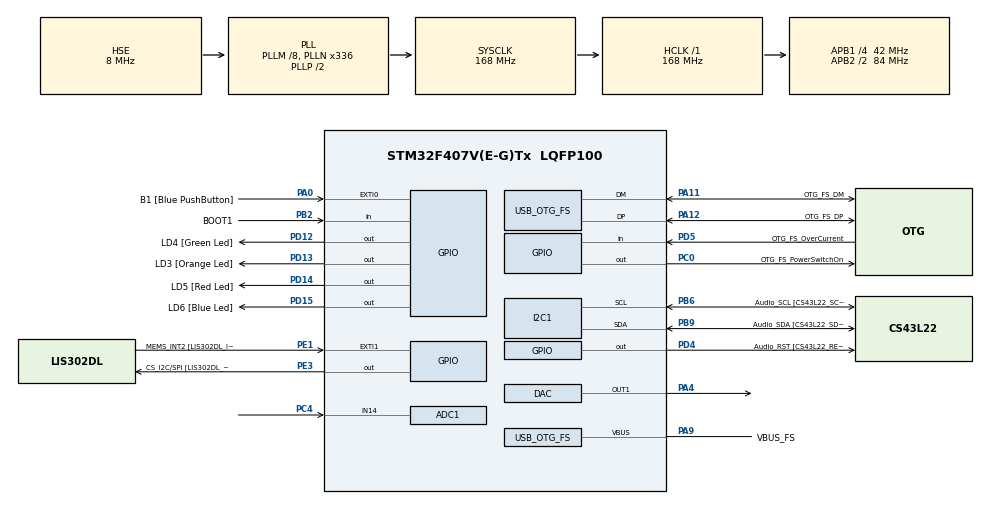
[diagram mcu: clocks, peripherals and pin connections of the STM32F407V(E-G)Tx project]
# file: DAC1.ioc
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ADC1.Channel-1\#ChannelRegularConversion=ADC_CHANNEL_14
ADC1.ContinuousConvMode=ENABLE
ADC1.DMAContinuousRequests=ENABLE
ADC1.NbrOfConversion=1
ADC1.NbrOfConversionFlag=1
ADC1.Rank-1\#ChannelRegularConversion=1
ADC1.SamplingTime-1\#ChannelRegularConversion=ADC_SAMPLETIME_3CYCLES
ADC1.master=1
DAC.DAC_Trigger=DAC_TRIGGER_T2_TRGO
Dma.ADC1.1.Direction=DMA_PERIPH_TO_MEMORY
Dma.ADC1.1.FIFOMode=DMA_FIFOMODE_DISABLE
Dma.ADC1.1.Instance=DMA2_Stream0
Dma.ADC1.1.MemDataAlignment=DMA_MDATAALIGN_WORD
Dma.ADC1.1.MemInc=DMA_MINC_ENABLE
Dma.ADC1.1.Mode=DMA_NORMAL
Dma.ADC1.1.PeriphDataAlignment=DMA_PDATAALIGN_WORD
Dma.ADC1.1.PeriphInc=DMA_PINC_DISABLE
Dma.ADC1.1.Priority=DMA_PRIORITY_VERY_HIGH
Dma.DAC1.0.Direction=DMA_MEMORY_TO_PERIPH
Dma.DAC1.0.FIFOMode=DMA_FIFOMODE_DISABLE
Dma.DAC1.0.Instance=DMA1_Stream5
Dma.DAC1.0.MemDataAlignment=DMA_MDATAALIGN_WORD
Dma.DAC1.0.MemInc=DMA_MINC_ENABLE
Dma.DAC1.0.Mode=DMA_CIRCULAR
Dma.DAC1.0.PeriphDataAlignment=DMA_PDATAALIGN_WORD
Dma.DAC1.0.PeriphInc=DMA_PINC_DISABLE
Dma.DAC1.0.Priority=DMA_PRIORITY_LOW
Dma.Request0=DAC1
Dma.Request1=ADC1
Mcu.Family=STM32F4
Mcu.Name=STM32F407V(E-G)Tx
Mcu.Package=LQFP100
NVIC.DMA1_Stream5_IRQn=true\:0\:0\:false\:false\:true\:false\:true\:true
NVIC.DMA2_Stream0_IRQn=true\:0\:0\:false\:false\:true\:false\:true\:true
NVIC.OTG_FS_IRQn=true\:0\:0\:false\:false\:true\:true\:true\:true
NVIC.PriorityGroup=NVIC_PRIORITYGROUP_0
NVIC.TIM2_IRQn=true\:0\:0\:false\:false\:true\:true\:true\:true
PA0-WKUP.GPIO_Label=B1 [Blue PushButton]
PA0-WKUP.GPIO_ModeDefaultEXTI=GPIO_MODE_EVT_RISING
PA0-WKUP.GPIO_PuPd=GPIO_NOPULL
PA0-WKUP.Signal=GPXTI0
PA10.GPIO_Label=OTG_FS_ID
PA10.GPIO_Mode=GPIO_MODE_AF_PP
PA10.GPIO_PuPd=GPIO_NOPULL
PA10.GPIO_Speed=GPIO_SPEED_FREQ_LOW
PA10.Signal=USB_OTG_FS_ID
PA11.GPIO_Label=OTG_FS_DM
PA11.GPIO_Mode=GPIO_MODE_AF_PP
PA11.GPIO_PuPd=GPIO_NOPULL
PA11.GPIO_Speed=GPIO_SPEED_FREQ_LOW
PA11.Mode=Host_Only
PA11.Signal=USB_OTG_FS_DM
PA12.GPIO_Label=OTG_FS_DP
PA12.GPIO_Mode=GPIO_MODE_AF_PP
PA12.GPIO_PuPd=GPIO_NOPULL
PA12.GPIO_Speed=GPIO_SPEED_FREQ_LOW
PA12.Mode=Host_Only
PA12.Signal=USB_OTG_FS_DP
PA13.GPIO_Label=SWDIO
PA13.Mode=Serial_Wire
PA13.Signal=SYS_JTMS-SWDIO
PA14.GPIO_Label=SWCLK
PA14.Mode=Serial_Wire
PA14.Signal=SYS_JTCK-SWCLK
PA4.Signal=COMP_DAC1_group
PA6.GPIO_Label=SPI1_MISO [LIS302DL_SDO]
PA6.GPIO_Mode=GPIO_MODE_AF_PP
PA6.GPIO_PuPd=GPIO_NOPULL
PA6.GPIO_Speed=GPIO_SPEED_FREQ_LOW
PA6.Signal=SPI1_MISO
PA7.GPIO_Label=SPI1_MOSI [LIS302DL_SDA/SDI/SDO]
PA7.GPIO_Mode=GPIO_MODE_AF_PP
PA7.GPIO_PuPd=GPIO_NOPULL
PA7.GPIO_Speed=GPIO_SPEED_FREQ_LOW
PA7.Signal=SPI1_MOSI
PA9.GPIO_Label=VBUS_FS
PA9.GPIO_Mode=GPIO_MODE_INPUT
PA9.GPIO_PuPd=GPIO_NOPULL
PA9.Mode=Activate_VBUS
PA9.Signal=USB_OTG_FS_VBUS
PB10.GPIO_Label=CLK_IN [MP45DT02_CLK]
PB10.GPIO_Mode=GPIO_MODE_AF_PP
PB10.GPIO_PuPd=GPIO_NOPULL
PB10.GPIO_Speed=GPIO_SPEED_FREQ_LOW
PB10.Signal=I2S2_CK
PB2.GPIO_Label=BOOT1
PB2.GPIO_Mode=GPIO_MODE_INPUT
PB2.GPIO_PuPd=GPIO_NOPULL
PB2.Signal=GPIO_Input
PB3.GPIO_Label=SWO
PB3.Signal=SYS_JTDO-SWO
PB6.GPIO_Label=Audio_SCL [CS43L22_SCL]
PB6.GPIO_Mode=GPIO_MODE_AF_OD
PB6.GPIO_Pu=GPIO_PULLUP
PB6.GPIO_PuPd=GPIO_NOPULL
PB6.GPIO_Speed=GPIO_SPEED_FREQ_LOW
PB6.Mode=I2C
PB6.Signal=I2C1_SCL
PB9.GPIO_Label=Audio_SDA [CS43L22_SDA]
PB9.GPIO_Mode=GPIO_MODE_AF_OD
PB9.GPIO_Pu=GPIO_PULLUP
PB9.GPIO_PuPd=GPIO_NOPULL
PB9.GPIO_Speed=GPIO_SPEED_FREQ_LOW
PB9.Mode=I2C
PB9.Signal=I2C1_SDA
PC0.GPIO_Label=OTG_FS_PowerSwitchOn
PC0.GPIO_PuPd=GPIO_NOPULL
PC0.GPIO_Speed=GPIO_SPEED_FREQ_LOW
PC0.PinState=GPIO_PIN_SET
PC0.Signal=GPIO_Output
PC10.GPIO_Label=I2S3_SCK [CS43L22_SCLK]
PC10.GPIO_Mode=GPIO_MODE_AF_PP
PC10.GPIO_PuPd=GPIO_NOPULL
PC10.GPIO_Speed=GPIO_SPEED_FREQ_LOW
PC10.Signal=I2S3_CK
PC12.GPIO_Label=I2S3_SD [CS43L22_SDIN]
PC12.GPIO_Mode=GPIO_MODE_AF_PP
PC12.GPIO_PuPd=GPIO_NOPULL
PC12.GPIO_Speed=GPIO_SPEED_FREQ_LOW
PC12.Signal=I2S3_SD
PC14-OSC32_IN.GPIO_Label=PC14-OSC32_IN
PC14-OSC32_IN.Mode=LSE-External-Oscillator
PC14-OSC32_IN.Signal=RCC_OSC32_IN
PC15-OSC32_OUT.GPIO_Label=PC15-OSC32_OUT
PC15-OSC32_OUT.Mode=LSE-External-Oscillator
PC15-OSC32_OUT.Signal=RCC_OSC32_OUT
PC3.GPIO_Label=PDM_OUT [MP45DT02_DOUT]
PC3.GPIO_Mode=GPIO_MODE_AF_PP
PC3.GPIO_PuPd=GPIO_NOPULL
PC3.GPIO_Speed=GPIO_SPEED_FREQ_LOW
PC3.Signal=I2S2_SD
PC4.Signal=ADCx_IN14
PC7.GPIO_Label=I2S3_MCK [CS43L22_MCLK]
PC7.GPIO_Mode=GPIO_MODE_AF_PP
PC7.GPIO_PuPd=GPIO_NOPULL
PC7.GPIO_Speed=GPIO_SPEED_FREQ_LOW
PC7.Signal=I2S3_MCK
PD12.GPIO_Label=LD4 [Green Led]
PD12.GPIO_PuPd=GPIO_NOPULL
PD12.GPIO_Speed=GPIO_SPEED_FREQ_LOW
PD12.Signal=GPIO_Output
PD13.GPIO_Label=LD3 [Orange Led]
PD13.GPIO_PuPd=GPIO_NOPULL
PD13.GPIO_Speed=GPIO_SPEED_FREQ_LOW
PD13.Signal=GPIO_Output
PD14.GPIO_Label=LD5 [Red Led]
PD14.GPIO_PuPd=GPIO_NOPULL
PD14.GPIO_Speed=GPIO_SPEED_FREQ_LOW
PD14.Signal=GPIO_Output
PD15.GPIO_Label=LD6 [Blue Led]
PD15.GPIO_PuPd=GPIO_NOPULL
PD15.GPIO_Speed=GPIO_SPEED_FREQ_LOW
PD15.Signal=GPIO_Output
PD4.GPIO_Label=Audio_RST [CS43L22_RESET]
PD4.GPIO_PuPd=GPIO_NOPULL
PD4.GPIO_Speed=GPIO_SPEED_FREQ_LOW
PD4.Signal=GPIO_Output
PD5.GPIO_Label=OTG_FS_OverCurrent
PD5.GPIO_Mode=GPIO_MODE_INPUT
PD5.GPIO_PuPd=GPIO_NOPULL
PD5.Signal=GPIO_Input
PE1.GPIO_Label=MEMS_INT2 [LIS302DL_INT2]
PE1.GPIO_ModeDefaultEXTI=GPIO_MODE_EVT_RISING
PE1.GPIO_PuPd=GPIO_NOPULL
PE1.Signal=GPXTI1
PE3.GPIO_Label=CS_I2C/SPI [LIS302DL_CS_I2C/SPI]
PE3.GPIO_PuPd=GPIO_NOPULL
PE3.GPIO_Speed=GPIO_SPEED_FREQ_LOW
PE3.Signal=GPIO_Output
PH0-OSC_IN.GPIO_Label=PH0-OSC_IN
PH0-OSC_IN.Mode=HSE-External-Oscillator
PH0-OSC_IN.Signal=RCC_OSC_IN
PH1-OSC_OUT.GPIO_Label=PH1-OSC_OUT
PH1-OSC_OUT.Mode=HSE-External-Oscillator
PH1-OSC_OUT.Signal=RCC_OSC_OUT
ProjectManager.HeapSize=0x200
ProjectManager.StackSize=0x400
ProjectManager.TargetToolchain=STM32CubeIDE
RCC.48MHZClocksFreq_Value=48000000
RCC.AHBFreq_Value=168000000
RCC.APB1CLKDivider=RCC_HCLK_DIV4
RCC.APB1Freq_Value=42000000
RCC.APB1TimFreq_Value=84000000
RCC.APB2CLKDivider=RCC_HCLK_DIV2
RCC.APB2Freq_Value=84000000
RCC.APB2TimFreq_Value=168000000
RCC.CortexFreq_Value=168000000
RCC.HCLKFreq_Value=168000000
RCC.HSE_VALUE=8000000
RCC.HSI_VALUE=16000000
RCC.PLLM=8
RCC.PLLN=336
RCC.PLLQ=7
RCC.SYSCLKFreq_VALUE=168000000
RCC.SYSCLKSource=RCC_SYSCLKSOURCE_PLLCLK
RCC.VCOOutputFreq_Value=336000000
SH.ADCx_IN14.0=ADC1_IN14,IN14
SH.COMP_DAC1_group.0=DAC_OUT1,DAC_OUT1
TIM2.Period=1
TIM2.Prescaler=0
TIM2.TIM_MasterOutputTrigger=TIM_TRGO_UPDATE
USB_HOST.BSP.number=1
USB_HOST.USBH_HandleTypeDef-CDC_FS=hUsbHostFS
USB_HOST.VirtualModeFS=Cdc
USB_HOST0.BSP.STBoard=false
USB_HOST0.BSP.api=Unknown
USB_HOST0.BSP.instance=PC0
USB_HOST0.BSP.ip=GPIO
USB_HOST0.BSP.mode=Output
USB_HOST0.BSP.name=Drive_VBUS_FS
USB_HOST0.BSP.solution=PC0
USB_OTG_FS.VirtualMode=Host_Only
USB_OTG_FS.phy_itface=HCD_PHY_EMBEDDED
VP_TIM2_VS_ClockSourceINT.Mode=Internal
VP_USB_HOST_VS_USB_HOST_CDC_FS.Mode=CDC_FS
board=STM32F407G-DISC1

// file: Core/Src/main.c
/* USER CODE BEGIN Header */
/**
  ******************************************************************************
  * @file           : main.c
  * @brief          : Main program body
  ******************************************************************************
  * @attention
  *
  * Copyright (c) 2023 STMicroelectronics.
  * All rights reserved.
  *
  * This software is licensed under terms that can be found in the LICENSE file
  * in the root directory of this software component.
  * If no LICENSE file comes with this software, it is provided AS-IS.
  *
  ******************************************************************************
  */
/* USER CODE END Header */
#include "main.h"
#include "usb_host.h"

/* USER CODE BEGIN Includes */
#include <math.h>
#include <PB_LCD_Drivers.h>
#include <string.h>
#include <stdio.h>
#include <stdlib.h>
/* USER CODE END Includes */

ADC_HandleTypeDef hadc1;
DMA_HandleTypeDef hdma_adc1;

DAC_HandleTypeDef hdac;
DMA_HandleTypeDef hdma_dac1;

I2C_HandleTypeDef hi2c1;

TIM_HandleTypeDef htim2;

void SystemClock_Config(void);
static void MX_GPIO_Init(void);
static void MX_DMA_Init(void);
static void MX_I2C1_Init(void);
static void MX_DAC_Init(void);
static void MX_TIM2_Init(void);
static void MX_ADC1_Init(void);
void MX_USB_HOST_Process(void);

/* USER CODE BEGIN 0 */

#define PI 3.14159
#define SAMPLE 100

uint32_t sine_val[SAMPLE];
uint32_t data1[SAMPLE];
//uint32_t data2[SAMPLE];

void calcsin() {
	for (int i=0; i<SAMPLE; i++) {
		sine_val[i] = (sin(i*2*PI/SAMPLE)+1) *(4096/2);
	}
}

/* USER CODE END 0 */

int main(void)
{
  /* USER CODE BEGIN 1 */
	uint16_t raw;
	char msg[10];

  /* USER CODE END 1 */

  /* MCU Configuration--------------------------------------------------------*/

  /* Reset of all peripherals, Initializes the Flash interface and the Systick. */
  HAL_Init();

  /* Configure the system clock */
  SystemClock_Config();

  /* Initialize all configured peripherals */
  MX_GPIO_Init();
  MX_DMA_Init();
  MX_I2C1_Init();
  MX_USB_HOST_Init();
  MX_DAC_Init();
  MX_TIM2_Init();
  MX_ADC1_Init();
  /* USER CODE BEGIN 2 */

  HAL_TIM_Base_Start(&htim2);
  calcsin();
  HAL_DAC_Start_DMA(&hdac, DAC1_CHANNEL_1, sine_val, SAMPLE, DAC_ALIGN_12B_R);
  //NVIC_EnableIRQ(ADC_IRQn);

  //HAL_ADC_Start(&hadc1);
  HAL_ADC_Start_DMA(&hadc1, data1, SAMPLE);

  PB_LCD_Init();
  PB_LCD_Clear();
  //PB_LCD_WriteString("msg", 34);

  HAL_Delay(100);
  HAL_ADC_Stop_DMA(&hadc1);

  HAL_ADC_Start(&hadc1);

  /* USER CODE END 2 */

  /* Infinite loop */
  while (1)
  {
    MX_USB_HOST_Process();

    /* USER CODE BEGIN 3 */

    /*for(int i = 0; i < 100; i++){
    	PB_LCD_Clear();
    	raw = data1[i];
    	itoa(raw, msg, 10);
    	PB_LCD_WriteString(msg, strlen(msg));
    	HAL_Delay(100);
    }*/

    raw = HAL_ADC_GetValue(&hadc1);
    PB_LCD_Clear();
    itoa(raw, msg, 10);
    PB_LCD_WriteString(msg, strlen(msg));
    HAL_Delay(100);
  }
  /* USER CODE END 3 */
}

void SystemClock_Config(void)
{
  RCC_OscInitTypeDef RCC_OscInitStruct = {0};
  RCC_ClkInitTypeDef RCC_ClkInitStruct = {0};

  /** Configure the main internal regulator output voltage
  */
  __HAL_RCC_PWR_CLK_ENABLE();
  __HAL_PWR_VOLTAGESCALING_CONFIG(PWR_REGULATOR_VOLTAGE_SCALE1);

  /** Initializes the RCC Oscillators according to the specified parameters
  * in the RCC_OscInitTypeDef structure.
  */
  RCC_OscInitStruct.OscillatorType = RCC_OSCILLATORTYPE_HSE;
  RCC_OscInitStruct.HSEState = RCC_HSE_ON;
  RCC_OscInitStruct.PLL.PLLState = RCC_PLL_ON;
  RCC_OscInitStruct.PLL.PLLSource = RCC_PLLSOURCE_HSE;
  RCC_OscInitStruct.PLL.PLLM = 8;
  RCC_OscInitStruct.PLL.PLLN = 336;
  RCC_OscInitStruct.PLL.PLLP = RCC_PLLP_DIV2;
  RCC_OscInitStruct.PLL.PLLQ = 7;
  if (HAL_RCC_OscConfig(&RCC_OscInitStruct) != HAL_OK)
  {
    Error_Handler();
  }

  /** Initializes the CPU, AHB and APB buses clocks
  */
  RCC_ClkInitStruct.ClockType = RCC_CLOCKTYPE_HCLK|RCC_CLOCKTYPE_SYSCLK
                              |RCC_CLOCKTYPE_PCLK1|RCC_CLOCKTYPE_PCLK2;
  RCC_ClkInitStruct.SYSCLKSource = RCC_SYSCLKSOURCE_PLLCLK;
  RCC_ClkInitStruct.AHBCLKDivider = RCC_SYSCLK_DIV1;
  RCC_ClkInitStruct.APB1CLKDivider = RCC_HCLK_DIV4;
  RCC_ClkInitStruct.APB2CLKDivider = RCC_HCLK_DIV2;

  if (HAL_RCC_ClockConfig(&RCC_ClkInitStruct, FLASH_LATENCY_5) != HAL_OK)
  {
    Error_Handler();
  }
}

static void MX_ADC1_Init(void)
{

  ADC_ChannelConfTypeDef sConfig = {0};

  /** Configure the global features of the ADC (Clock, Resolution, Data Alignment and number of conversion)
  */
  hadc1.Instance = ADC1;
  hadc1.Init.ClockPrescaler = ADC_CLOCK_SYNC_PCLK_DIV4;
  hadc1.Init.Resolution = ADC_RESOLUTION_12B;
  hadc1.Init.ScanConvMode = DISABLE;
  hadc1.Init.ContinuousConvMode = ENABLE;
  hadc1.Init.DiscontinuousConvMode = DISABLE;
  hadc1.Init.ExternalTrigConvEdge = ADC_EXTERNALTRIGCONVEDGE_NONE;
  hadc1.Init.ExternalTrigConv = ADC_SOFTWARE_START;
  hadc1.Init.DataAlign = ADC_DATAALIGN_RIGHT;
  hadc1.Init.NbrOfConversion = 1;
  hadc1.Init.DMAContinuousRequests = DISABLE;
  hadc1.Init.EOCSelection = ADC_EOC_SINGLE_CONV;
  if (HAL_ADC_Init(&hadc1) != HAL_OK)
  {
    Error_Handler();
  }

  /** Configure for the selected ADC regular channel its corresponding rank in the sequencer and its sample time.
  */
  sConfig.Channel = ADC_CHANNEL_14;
  sConfig.Rank = 1;
  sConfig.SamplingTime = ADC_SAMPLETIME_3CYCLES;
  if (HAL_ADC_ConfigChannel(&hadc1, &sConfig) != HAL_OK)
  {
    Error_Handler();
  }

}

static void MX_DAC_Init(void)
{

  DAC_ChannelConfTypeDef sConfig = {0};

  /** DAC Initialization
  */
  hdac.Instance = DAC;
  if (HAL_DAC_Init(&hdac) != HAL_OK)
  {
    Error_Handler();
  }

  /** DAC channel OUT1 config
  */
  sConfig.DAC_Trigger = DAC_TRIGGER_T2_TRGO;
  sConfig.DAC_OutputBuffer = DAC_OUTPUTBUFFER_ENABLE;
  if (HAL_DAC_ConfigChannel(&hdac, &sConfig, DAC_CHANNEL_1) != HAL_OK)
  {
    Error_Handler();
  }

}

static void MX_I2C1_Init(void)
{

  hi2c1.Instance = I2C1;
  hi2c1.Init.ClockSpeed = 100000;
  hi2c1.Init.DutyCycle = I2C_DUTYCYCLE_2;
  hi2c1.Init.OwnAddress1 = 0;
  hi2c1.Init.AddressingMode = I2C_ADDRESSINGMODE_7BIT;
  hi2c1.Init.DualAddressMode = I2C_DUALADDRESS_DISABLE;
  hi2c1.Init.OwnAddress2 = 0;
  hi2c1.Init.GeneralCallMode = I2C_GENERALCALL_DISABLE;
  hi2c1.Init.NoStretchMode = I2C_NOSTRETCH_DISABLE;
  if (HAL_I2C_Init(&hi2c1) != HAL_OK)
  {
    Error_Handler();
  }

}

static void MX_TIM2_Init(void)
{

  TIM_ClockConfigTypeDef sClockSourceConfig = {0};
  TIM_MasterConfigTypeDef sMasterConfig = {0};

  htim2.Instance = TIM2;
  htim2.Init.Prescaler = 0;
  htim2.Init.CounterMode = TIM_COUNTERMODE_UP;
  htim2.Init.Period = 1;
  htim2.Init.ClockDivision = TIM_CLOCKDIVISION_DIV1;
  htim2.Init.AutoReloadPreload = TIM_AUTORELOAD_PRELOAD_DISABLE;
  if (HAL_TIM_Base_Init(&htim2) != HAL_OK)
  {
    Error_Handler();
  }
  sClockSourceConfig.ClockSource = TIM_CLOCKSOURCE_INTERNAL;
  if (HAL_TIM_ConfigClockSource(&htim2, &sClockSourceConfig) != HAL_OK)
  {
    Error_Handler();
  }
  sMasterConfig.MasterOutputTrigger = TIM_TRGO_UPDATE;
  sMasterConfig.MasterSlaveMode = TIM_MASTERSLAVEMODE_DISABLE;
  if (HAL_TIMEx_MasterConfigSynchronization(&htim2, &sMasterConfig) != HAL_OK)
  {
    Error_Handler();
  }

}

static void MX_DMA_Init(void)
{

  /* DMA controller clock enable */
  __HAL_RCC_DMA1_CLK_ENABLE();
  __HAL_RCC_DMA2_CLK_ENABLE();

  /* DMA interrupt init */
  /* DMA1_Stream5_IRQn interrupt configuration */
  HAL_NVIC_SetPriority(DMA1_Stream5_IRQn, 0, 0);
  HAL_NVIC_EnableIRQ(DMA1_Stream5_IRQn);
  /* DMA2_Stream0_IRQn interrupt configuration */
  HAL_NVIC_SetPriority(DMA2_Stream0_IRQn, 0, 0);
  HAL_NVIC_EnableIRQ(DMA2_Stream0_IRQn);

}

static void MX_GPIO_Init(void)
{
  GPIO_InitTypeDef GPIO_InitStruct = {0};

  /* GPIO Ports Clock Enable */
  __HAL_RCC_GPIOE_CLK_ENABLE();
  __HAL_RCC_GPIOC_CLK_ENABLE();
  __HAL_RCC_GPIOH_CLK_ENABLE();
  __HAL_RCC_GPIOA_CLK_ENABLE();
  __HAL_RCC_GPIOB_CLK_ENABLE();
  __HAL_RCC_GPIOD_CLK_ENABLE();

  /*Configure GPIO pin Output Level */
  HAL_GPIO_WritePin(CS_I2C_SPI_GPIO_Port, CS_I2C_SPI_Pin, GPIO_PIN_RESET);

  /*Configure GPIO pin Output Level */
  HAL_GPIO_WritePin(OTG_FS_PowerSwitchOn_GPIO_Port, OTG_FS_PowerSwitchOn_Pin, GPIO_PIN_SET);

  /*Configure GPIO pin Output Level */
  HAL_GPIO_WritePin(GPIOD, LD4_Pin|LD3_Pin|LD5_Pin|LD6_Pin
                          |Audio_RST_Pin, GPIO_PIN_RESET);

  /*Configure GPIO pin : CS_I2C_SPI_Pin */
  GPIO_InitStruct.Pin = CS_I2C_SPI_Pin;
  GPIO_InitStruct.Mode = GPIO_MODE_OUTPUT_PP;
  GPIO_InitStruct.Pull = GPIO_NOPULL;
  GPIO_InitStruct.Speed = GPIO_SPEED_FREQ_LOW;
  HAL_GPIO_Init(CS_I2C_SPI_GPIO_Port, &GPIO_InitStruct);

  /*Configure GPIO pin : OTG_FS_PowerSwitchOn_Pin */
  GPIO_InitStruct.Pin = OTG_FS_PowerSwitchOn_Pin;
  GPIO_InitStruct.Mode = GPIO_MODE_OUTPUT_PP;
  GPIO_InitStruct.Pull = GPIO_NOPULL;
  GPIO_InitStruct.Speed = GPIO_SPEED_FREQ_LOW;
  HAL_GPIO_Init(OTG_FS_PowerSwitchOn_GPIO_Port, &GPIO_InitStruct);

  /*Configure GPIO pin : PDM_OUT_Pin */
  GPIO_InitStruct.Pin = PDM_OUT_Pin;
  GPIO_InitStruct.Mode = GPIO_MODE_AF_PP;
  GPIO_InitStruct.Pull = GPIO_NOPULL;
  GPIO_InitStruct.Speed = GPIO_SPEED_FREQ_LOW;
  GPIO_InitStruct.Alternate = GPIO_AF5_SPI2;
  HAL_GPIO_Init(PDM_OUT_GPIO_Port, &GPIO_InitStruct);

  /*Configure GPIO pin : B1_Pin */
  GPIO_InitStruct.Pin = B1_Pin;
  GPIO_InitStruct.Mode = GPIO_MODE_EVT_RISING;
  GPIO_InitStruct.Pull = GPIO_NOPULL;
  HAL_GPIO_Init(B1_GPIO_Port, &GPIO_InitStruct);

  /*Configure GPIO pins : SPI1_MISO_Pin SPI1_MOSI_Pin */
  GPIO_InitStruct.Pin = SPI1_MISO_Pin|SPI1_MOSI_Pin;
  GPIO_InitStruct.Mode = GPIO_MODE_AF_PP;
  GPIO_InitStruct.Pull = GPIO_NOPULL;
  GPIO_InitStruct.Speed = GPIO_SPEED_FREQ_LOW;
  GPIO_InitStruct.Alternate = GPIO_AF5_SPI1;
  HAL_GPIO_Init(GPIOA, &GPIO_InitStruct);

  /*Configure GPIO pin : BOOT1_Pin */
  GPIO_InitStruct.Pin = BOOT1_Pin;
  GPIO_InitStruct.Mode = GPIO_MODE_INPUT;
  GPIO_InitStruct.Pull = GPIO_NOPULL;
  HAL_GPIO_Init(BOOT1_GPIO_Port, &GPIO_InitStruct);

  /*Configure GPIO pin : CLK_IN_Pin */
  GPIO_InitStruct.Pin = CLK_IN_Pin;
  GPIO_InitStruct.Mode = GPIO_MODE_AF_PP;
  GPIO_InitStruct.Pull = GPIO_NOPULL;
  GPIO_InitStruct.Speed = GPIO_SPEED_FREQ_LOW;
  GPIO_InitStruct.Alternate = GPIO_AF5_SPI2;
  HAL_GPIO_Init(CLK_IN_GPIO_Port, &GPIO_InitStruct);

  /*Configure GPIO pins : LD4_Pin LD3_Pin LD5_Pin LD6_Pin
                           Audio_RST_Pin */
  GPIO_InitStruct.Pin = LD4_Pin|LD3_Pin|LD5_Pin|LD6_Pin
                          |Audio_RST_Pin;
  GPIO_InitStruct.Mode = GPIO_MODE_OUTPUT_PP;
  GPIO_InitStruct.Pull = GPIO_NOPULL;
  GPIO_InitStruct.Speed = GPIO_SPEED_FREQ_LOW;
  HAL_GPIO_Init(GPIOD, &GPIO_InitStruct);

  /*Configure GPIO pins : I2S3_MCK_Pin I2S3_SCK_Pin I2S3_SD_Pin */
  GPIO_InitStruct.Pin = I2S3_MCK_Pin|I2S3_SCK_Pin|I2S3_SD_Pin;
  GPIO_InitStruct.Mode = GPIO_MODE_AF_PP;
  GPIO_InitStruct.Pull = GPIO_NOPULL;
  GPIO_InitStruct.Speed = GPIO_SPEED_FREQ_LOW;
  GPIO_InitStruct.Alternate = GPIO_AF6_SPI3;
  HAL_GPIO_Init(GPIOC, &GPIO_InitStruct);

  /*Configure GPIO pin : OTG_FS_OverCurrent_Pin */
  GPIO_InitStruct.Pin = OTG_FS_OverCurrent_Pin;
  GPIO_InitStruct.Mode = GPIO_MODE_INPUT;
  GPIO_InitStruct.Pull = GPIO_NOPULL;
  HAL_GPIO_Init(OTG_FS_OverCurrent_GPIO_Port, &GPIO_InitStruct);

  /*Configure GPIO pin : MEMS_INT2_Pin */
  GPIO_InitStruct.Pin = MEMS_INT2_Pin;
  GPIO_InitStruct.Mode = GPIO_MODE_EVT_RISING;
  GPIO_InitStruct.Pull = GPIO_NOPULL;
  HAL_GPIO_Init(MEMS_INT2_GPIO_Port, &GPIO_InitStruct);

}

/* USER CODE BEGIN 4 */

void INTERUPT_ROUTINE(void){

}

/* USER CODE END 4 */

void Error_Handler(void)
{
  __disable_irq();
  while (1)
  {
  }
}
